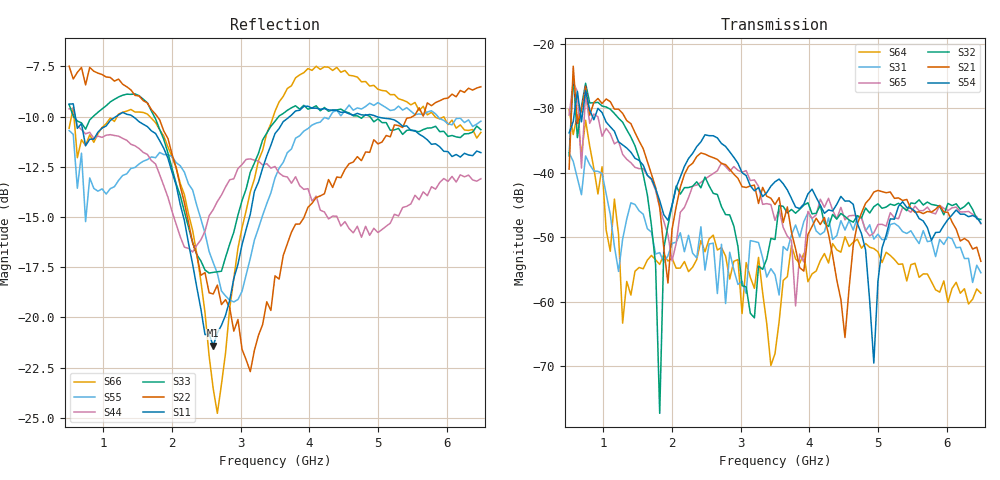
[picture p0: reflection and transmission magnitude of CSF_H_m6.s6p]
!Keysight Technologies,M9804A,MY58100912,A.14.10.03
!Date: Thursday, April 27, 2023 10:28:33
!Correction: S11(C  6-Port  )
!S12(C  6-Port  )
!S13(C  6-Port  )
!S14(C  6-Port  )
!S15(C  6-Port  )
!S16(C  6-Port  )
!S21(C  6-Port  )
!S22(C  6-Port  )
!S23(C  6-Port  )
!S24(C  6-Port  )
!S25(C  6-Port  )
!S26(C  6-Port  )
!S31(C  6-Port  )
!S32(C  6-Port  )
!S33(C  6-Port  )
!S34(C  6-Port  )
!S35(C  6-Port  )
!S36(C  6-Port  )
!S41(C  6-Port  )
!S42(C  6-Port  )
!S43(C  6-Port  )
!S44(C  6-Port  )
!S45(C  6-Port  )
!S46(C  6-Port  )
!S51(C  6-Port  )
!S52(C  6-Port  )
!S53(C  6-Port  )
!S54(C  6-Port  )
!S55(C  6-Port  )
!S56(C  6-Port  )
!S61(C  6-Port  )
!S62(C  6-Port  )
!S63(C  6-Port  )
!S64(C  6-Port  )
!S65(C  6-Port  )
!S66(C  6-Port  )
!S6P File: Measurement: :
# Hz S  RI  R 50
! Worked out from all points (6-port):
!   101 points, 500 MHz to 6.5 GHz, reference 50 ohm
!   strongest paths, dB at 500 MHz, 2 GHz, 3.5 GHz, 5 GHz, 6.5 GHz:
!     S54: -33.8, -45.0, -41.4, -56.8, -47.8
!     S21: -39.4, -48.7, -44.9, -42.7, -53.7
!     S32: -37.4, -45.1, -50.3, -44.8, -47.2
!     S65: -31.0, -53.6, -47.3, -48.0, -47.9
!     S31: -36.9, -50.9, -55.8, -49.5, -55.5
!     S64: -30.2, -53.2, -68.0, -52.2, -58.6
!   lowest |S11| = -21.4 dB at 2.6 GHz (marker M1), VSWR 1.19, Z = 42.5 + j2.25 ohm
!   |S11| at or under -10 dB: 591.1 MHz to 1.185 GHz (593.5 MHz wide, 66.8 % of centre); 1.428 GHz to 3.715 GHz (2.287 GHz wide, 88.9 % of centre); 4.979 GHz to end of sweep
